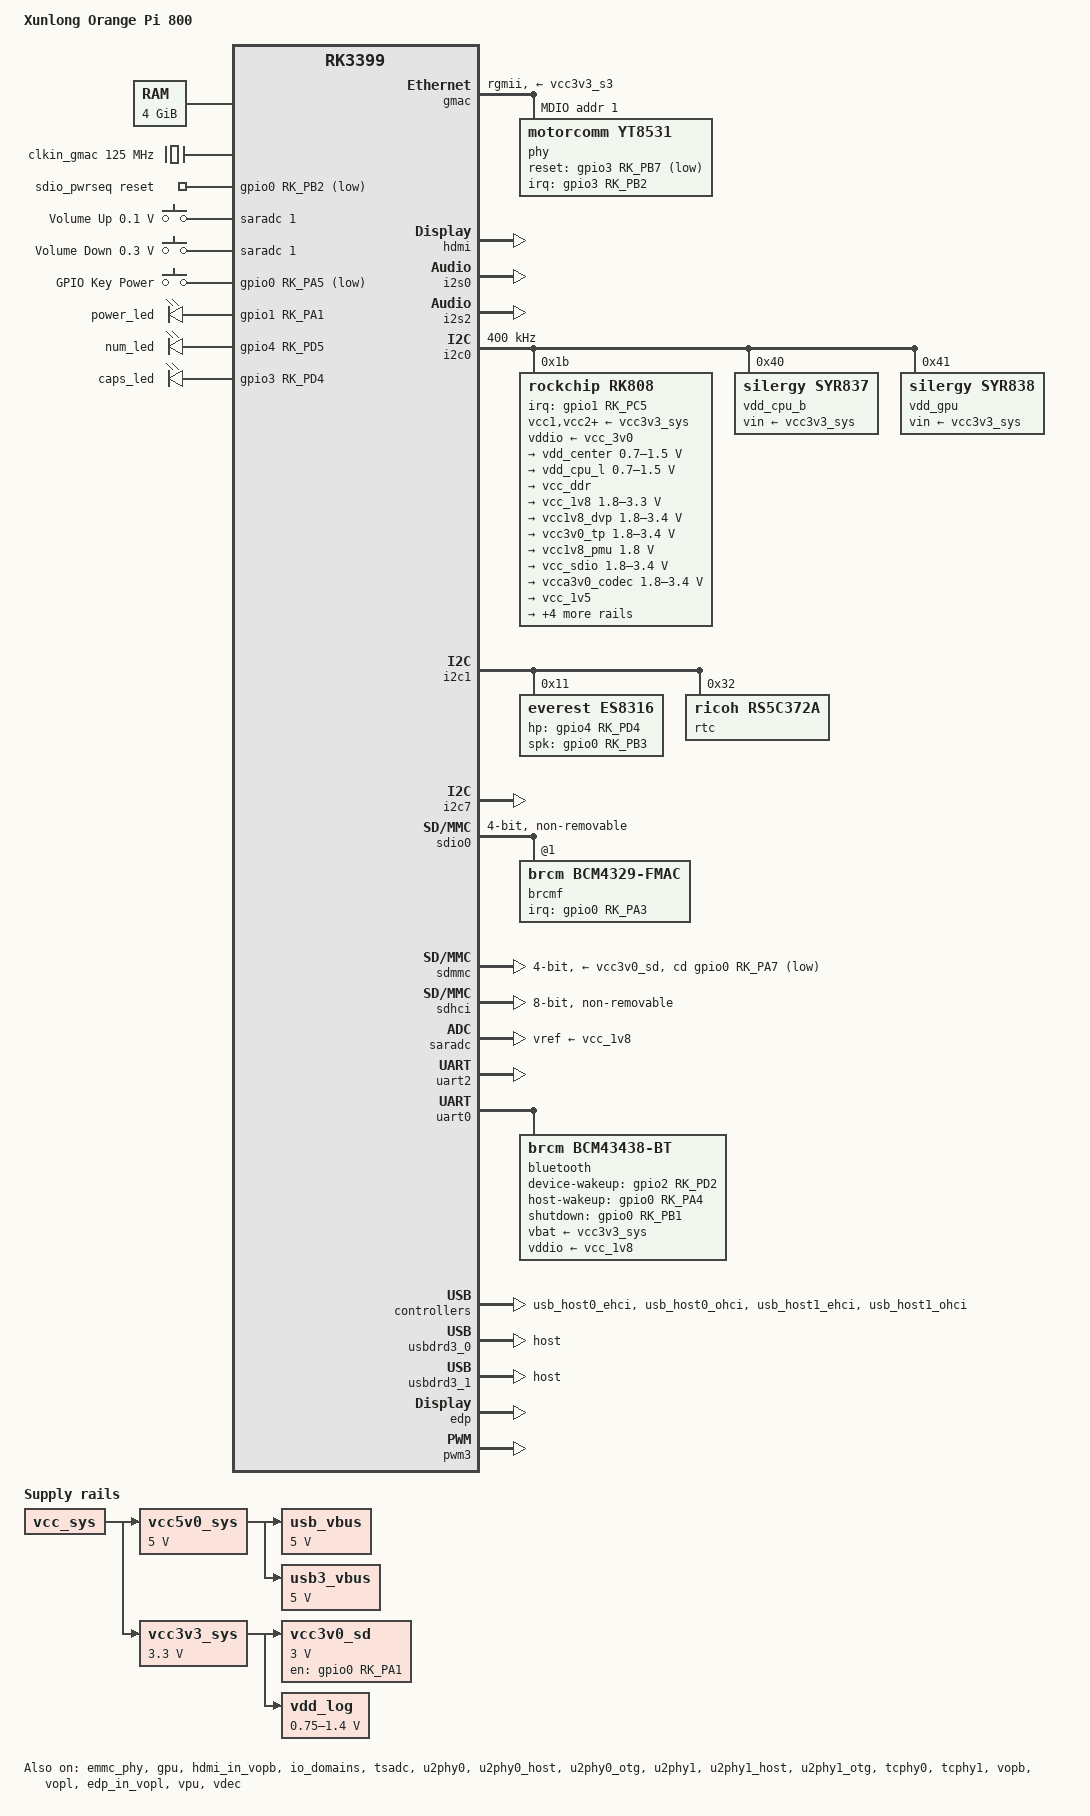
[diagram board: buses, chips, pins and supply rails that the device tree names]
// SPDX-License-Identifier: (GPL-2.0+ OR MIT)
/*
 * Copyright (c) 2022 Xunlong Software Co. Ltd.
 *
 * Device tree source for the Orange Pi 800 keyboard-PC (RK3399).
 * Ported from vendor DTS to mainline Linux format.
 *
 * Hardware:
 *   SoC:    Rockchip RK3399 (4x Cortex-A53 + 2x Cortex-A72)
 *   RAM:    4 GB LPDDR4
 *   eMMC:   64 GB (non-removable, /dev/mmcblk0)
 *   WiFi:   BCM43456 (AP6256) via SDIO
 *   BT:     BCM43456 via UART0
 *   PHY:    Motorcomm YT8531C 1GbE
 *   Audio:  ES8316 codec
 *   PMIC:   RK808-D + SYR827 (vdd_cpu_b) + SYR828 (vdd_gpu)
 *   VGA:    CH7517 eDP-to-VGA bridge on EDP port
 *   HDMI:   dw-hdmi @ ff940000
 *   Serial: UART2 (ff1a0000) @ 1500000 baud
 */
/dts-v1/;

#include <dt-bindings/gpio/gpio.h>
#include <dt-bindings/input/input.h>
#include <dt-bindings/leds/common.h>
#include <dt-bindings/pinctrl/rockchip.h>
#include "rk3399.dtsi"
#include "rk3399-opp.dtsi"

/ {
model = "Xunlong Orange Pi 800";
compatible = "xunlong,orangepi-800", "rockchip,rk3399";

aliases {
ethernet0 = &gmac;
mmc0 = &sdio0;
mmc1 = &sdmmc;
mmc2 = &sdhci;
};

chosen {
stdout-path = "serial2:1500000n8";
};

/*
 * 4 GB LPDDR4: 3840 MB low + 256 MB above 4 GB boundary.
 * U-Boot will update this node from DRAM init data.
 */
memory@00000000 {
device_type = "memory";
reg = <0x0 0x00000000 0x0 0xf0000000>,
      <0x0 0x100000000 0x0 0x10000000>;
};

/* ---------- Fixed regulators ---------- */

/* Root power supply — 5 V USB-C PD input */
vcc_sys: vcc-sys-regulator {
compatible = "regulator-fixed";
regulator-name = "vcc_sys";
regulator-always-on;
regulator-boot-on;
};

vcc5v0_sys: vcc5v0-sys-regulator {
compatible = "regulator-fixed";
regulator-name = "vcc5v0_sys";
regulator-always-on;
regulator-boot-on;
regulator-min-microvolt = <5000000>;
regulator-max-microvolt = <5000000>;
vin-supply = <&vcc_sys>;
};

vcc3v3_sys: vcc3v3-sys-regulator {
compatible = "regulator-fixed";
regulator-name = "vcc3v3_sys";
regulator-always-on;
regulator-boot-on;
regulator-min-microvolt = <3300000>;
regulator-max-microvolt = <3300000>;
vin-supply = <&vcc_sys>;

regulator-state-mem {
regulator-on-in-suspend;
};
};

/* SD card VMC — switched by GPIO0_PA1 */
vcc3v0_sd: vcc3v0-sd-regulator {
compatible = "regulator-fixed";
enable-active-high;
gpio = <&gpio0 RK_PA1 GPIO_ACTIVE_HIGH>;
pinctrl-names = "default";
pinctrl-0 = <&sdmmc0_pwr_h>;
regulator-name = "vcc3v0_sd";
regulator-always-on;
regulator-min-microvolt = <3000000>;
regulator-max-microvolt = <3000000>;
vin-supply = <&vcc3v3_sys>;

regulator-state-mem {
regulator-off-in-suspend;
};
};

/* USB host 5 V power (VBUS for USB2 host PHY ports) */
usb_vbus: usb-vbus-regulator {
compatible = "regulator-fixed";
regulator-name = "usb_vbus";
regulator-always-on;
regulator-boot-on;
regulator-min-microvolt = <5000000>;
regulator-max-microvolt = <5000000>;
vin-supply = <&vcc5v0_sys>;

regulator-state-mem {
regulator-on-in-suspend;
};
};

/* USB3 host VBUS (USB3/Type-C host ports) */
usb3_vbus: usb3-vbus-regulator {
compatible = "regulator-fixed";
regulator-name = "usb3_vbus";
regulator-always-on;
regulator-boot-on;
regulator-min-microvolt = <5000000>;
regulator-max-microvolt = <5000000>;
vin-supply = <&vcc5v0_sys>;

regulator-state-mem {
regulator-on-in-suspend;
};
};

/*
 * VDD_LOG — center-logic domain supply.
 * U2106 SY8088AAC buck converter, FB controlled by PWM3 (inverted).
 * Default hardware voltage ~0.945 V per schematic.
 */
vdd_log: vdd-log-regulator {
compatible = "pwm-regulator";
pwms = <&pwm3 0 25000 1>;
pwm-supply = <&vcc3v3_sys>;
regulator-name = "vdd_log";
regulator-min-microvolt = <750000>;
regulator-max-microvolt = <1400000>;
regulator-always-on;
regulator-boot-on;
};

/* ---------- External clocks ---------- */

/*
 * 125 MHz RGMII reference clock supplied by the YT8531C PHY
 * CLKOUT pin back to the RK3399 GMAC controller.
 */
clkin_gmac: external-gmac-clock {
compatible = "fixed-clock";
clock-frequency = <125000000>;
clock-output-names = "clkin_gmac";
#clock-cells = <0>;
};

/* ---------- WiFi power sequencing ---------- */

sdio_pwrseq: sdio-pwrseq {
compatible = "mmc-pwrseq-simple";
/*
 * RK808 CLKOUT2 (32 kHz) is the reference clock for the
 * AP6256 WiFi module.
 */
clocks = <&rk808 1>;
clock-names = "ext_clock";
pinctrl-names = "default";
pinctrl-0 = <&wifi_reg_on_h>;
/* WL_REG_ON: active-high enable, maps to ACTIVE_LOW on reset */
reset-gpios = <&gpio0 RK_PB2 GPIO_ACTIVE_LOW>;
};

/* ---------- Audio ---------- */

es8316_sound: es8316-sound {
compatible = "simple-audio-card";
simple-audio-card,name = "rockchip,es8316-codec";
simple-audio-card,format = "i2s";
simple-audio-card,mclk-fs = <256>;
simple-audio-card,widgets =
"Microphone", "Mic Jack",
"Headphone", "Headphones";
simple-audio-card,routing =
"MIC1", "Mic Jack",
"Headphones", "HPOL",
"Headphones", "HPOR";

simple-audio-card,cpu {
sound-dai = <&i2s0>;
};

simple-audio-card,codec {
sound-dai = <&es8316>;
};
};

hdmi_sound: hdmi-sound {
compatible = "simple-audio-card";
simple-audio-card,name = "hdmi";
simple-audio-card,format = "i2s";
simple-audio-card,mclk-fs = <256>;

simple-audio-card,cpu {
sound-dai = <&i2s2>;
};

simple-audio-card,codec {
sound-dai = <&hdmi>;
bitclock-master;
frame-master;
};
};

/* ---------- Input ---------- */

/* Volume Up / Down via SARADC channel 1 */
adc_keys: adc-keys {
compatible = "adc-keys";
io-channels = <&saradc 1>;
io-channel-names = "buttons";
poll-interval = <100>;
keyup-threshold-microvolt = <1800000>;

button-up {
label = "Volume Up";
linux,code = <KEY_VOLUMEUP>;
press-threshold-microvolt = <100000>;
};

button-down {
label = "Volume Down";
linux,code = <KEY_VOLUMEDOWN>;
press-threshold-microvolt = <300000>;
};
};

/* Power button — GPIO0_PA5, active-low */
gpio_keys: gpio-keys {
compatible = "gpio-keys";
#address-cells = <1>;
#size-cells = <0>;
autorepeat;
pinctrl-names = "default";
pinctrl-0 = <&power_key>;

button@0 {
gpios = <&gpio0 RK_PA5 GPIO_ACTIVE_LOW>;
linux,code = <KEY_POWER>;
label = "GPIO Key Power";
linux,input-type = <1>;
gpio-key,wakeup = <1>;
debounce-interval = <100>;
};
};

/* ---------- LEDs ---------- */

gpio_leds: gpio-leds {
compatible = "gpio-leds";
pinctrl-names = "default";
pinctrl-0 = <&leds_gpio>;

led-power {
gpios = <&gpio1 RK_PA1 GPIO_ACTIVE_HIGH>;
label = "power_led";
linux,default-trigger = "none";
default-state = "on";
};

led-num {
gpios = <&gpio4 RK_PD5 GPIO_ACTIVE_HIGH>;
label = "num_led";
function = LED_FUNCTION_KBD_NUMLOCK;
linux,default-trigger = "kbd-numlock";
default-state = "off";
};

led-caps {
gpios = <&gpio3 RK_PD4 GPIO_ACTIVE_HIGH>;
label = "caps_led";
function = LED_FUNCTION_KBD_CAPSLOCK;
linux,default-trigger = "kbd-capslock";
default-state = "off";
};
};
};

/* ---------- CPU voltage supplies ---------- */

&cpu_l0 { cpu-supply = <&vdd_cpu_l>; };
&cpu_l1 { cpu-supply = <&vdd_cpu_l>; };
&cpu_l2 { cpu-supply = <&vdd_cpu_l>; };
&cpu_l3 { cpu-supply = <&vdd_cpu_l>; };
&cpu_b0 { cpu-supply = <&vdd_cpu_b>; };
&cpu_b1 { cpu-supply = <&vdd_cpu_b>; };

/* ---------- eMMC PHY ---------- */

&emmc_phy {
status = "okay";
};

/* ---------- Ethernet (GMAC) ---------- */

&gmac {
assigned-clocks = <&cru SCLK_RMII_SRC>;
assigned-clock-parents = <&clkin_gmac>;
clock_in_out = "input";
phy-supply = <&vcc3v3_s3>;
phy-mode = "rgmii";
pinctrl-names = "default";
pinctrl-0 = <&rgmii_pins>;
tx_delay = <0x28>;
rx_delay = <0x11>;
status = "okay";

mdio {
compatible = "snps,dwmac-mdio";
#address-cells = <1>;
#size-cells = <0>;

phy@1 {
compatible = "motorcomm,yt8531";
reg = <1>;
interrupt-parent = <&gpio3>;
interrupts = <RK_PB2 IRQ_TYPE_LEVEL_LOW>;
motorcomm,clk-out-frequency-hz = <125000000>;
reset-gpios = <&gpio3 RK_PB7 GPIO_ACTIVE_LOW>;
reset-assert-us = <10000>;
reset-deassert-us = <30000>;
};
};
};

/* ---------- GPU ---------- */

&gpu {
mali-supply = <&vdd_gpu>;
status = "okay";
};

/* ---------- HDMI ---------- */

&hdmi {
ddc-i2c-bus = <&i2c7>;
pinctrl-names = "default";
pinctrl-0 = <&hdmi_cec>;
status = "okay";
};

&hdmi_in_vopb {
status = "okay";
};

&hdmi_in_vopl {
status = "disabled";
};

/* ---------- I2S / Audio clocking ---------- */

&i2s0 {
#sound-dai-cells = <0>;
pinctrl-names = "default";
pinctrl-0 = <&i2s0_8ch_bus>;
rockchip,playback-channels = <8>;
rockchip,capture-channels = <8>;
status = "okay";
};

&i2s2 {
#sound-dai-cells = <0>;
status = "okay";
};

/* ---------- I2C buses ---------- */

/* PMU I2C: RK808 PMIC, SYR827 (vdd_cpu_b), SYR828 (vdd_gpu) */
&i2c0 {
clock-frequency = <400000>;
i2c-scl-rising-time-ns = <168>;
i2c-scl-falling-time-ns = <4>;
status = "okay";

rk808: pmic@1b {
compatible = "rockchip,rk808";
reg = <0x1b>;
interrupt-parent = <&gpio1>;
interrupts = <RK_PC5 IRQ_TYPE_LEVEL_LOW>;
#clock-cells = <1>;
clock-output-names = "rk808-clko1", "rk808-clko2";
pinctrl-names = "default";
pinctrl-0 = <&pmic_int_l>;
rockchip,system-power-controller;
wakeup-source;

vcc1-supply = <&vcc3v3_sys>;
vcc2-supply = <&vcc3v3_sys>;
vcc3-supply = <&vcc3v3_sys>;
vcc4-supply = <&vcc3v3_sys>;
vcc6-supply = <&vcc3v3_sys>;
vcc7-supply = <&vcc3v3_sys>;
vcc8-supply = <&vcc3v3_sys>;
vcc9-supply = <&vcc3v3_sys>;
vcc10-supply = <&vcc3v3_sys>;
vcc11-supply = <&vcc3v3_sys>;
vcc12-supply = <&vcc3v3_sys>;
vddio-supply = <&vcc_3v0>;

regulators {
vdd_center: DCDC_REG1 {
regulator-name = "vdd_center";
regulator-always-on;
regulator-boot-on;
regulator-min-microvolt = <700000>;
regulator-max-microvolt = <1500000>;
regulator-ramp-delay = <6001>;

regulator-state-mem {
regulator-off-in-suspend;
};
};

vdd_cpu_l: DCDC_REG2 {
regulator-name = "vdd_cpu_l";
regulator-always-on;
regulator-boot-on;
regulator-min-microvolt = <700000>;
regulator-max-microvolt = <1500000>;
regulator-ramp-delay = <6001>;

regulator-state-mem {
regulator-off-in-suspend;
};
};

vcc_ddr: DCDC_REG3 {
regulator-name = "vcc_ddr";
regulator-always-on;
regulator-boot-on;

regulator-state-mem {
regulator-on-in-suspend;
};
};

vcc_1v8: DCDC_REG4 {
regulator-name = "vcc_1v8";
regulator-always-on;
regulator-boot-on;
regulator-min-microvolt = <1800000>;
regulator-max-microvolt = <3300000>;

regulator-state-mem {
regulator-on-in-suspend;
regulator-suspend-microvolt = <1800000>;
};
};

vcc1v8_dvp: LDO_REG1 {
regulator-name = "vcc1v8_dvp";
regulator-always-on;
regulator-boot-on;
regulator-min-microvolt = <1800000>;
regulator-max-microvolt = <3400000>;

regulator-state-mem {
regulator-off-in-suspend;
};
};

vcc3v0_tp: LDO_REG2 {
regulator-name = "vcc3v0_tp";
regulator-always-on;
regulator-boot-on;
regulator-min-microvolt = <1800000>;
regulator-max-microvolt = <3400000>;

regulator-state-mem {
regulator-off-in-suspend;
};
};

vcc1v8_pmu: LDO_REG3 {
regulator-name = "vcc1v8_pmu";
regulator-always-on;
regulator-boot-on;
regulator-min-microvolt = <1800000>;
regulator-max-microvolt = <1800000>;

regulator-state-mem {
regulator-on-in-suspend;
regulator-suspend-microvolt = <1800000>;
};
};

vcc_sdio: LDO_REG4 {
regulator-name = "vcc_sdio";
regulator-always-on;
regulator-boot-on;
regulator-min-microvolt = <1800000>;
regulator-max-microvolt = <3400000>;

regulator-state-mem {
regulator-on-in-suspend;
regulator-suspend-microvolt = <3000000>;
};
};

vcca3v0_codec: LDO_REG5 {
regulator-name = "vcca3v0_codec";
regulator-always-on;
regulator-boot-on;
regulator-min-microvolt = <1800000>;
regulator-max-microvolt = <3400000>;

regulator-state-mem {
regulator-off-in-suspend;
};
};

vcc_1v5: LDO_REG6 {
regulator-name = "vcc_1v5";
regulator-always-on;
regulator-boot-on;

regulator-state-mem {
regulator-on-in-suspend;
regulator-suspend-microvolt = <1500000>;
};
};

vcca1v8_codec: LDO_REG7 {
regulator-name = "vcca1v8_codec";
regulator-always-on;
regulator-boot-on;
regulator-min-microvolt = <1800000>;
regulator-max-microvolt = <1800000>;

regulator-state-mem {
regulator-off-in-suspend;
};
};

vcc_3v0: LDO_REG8 {
regulator-name = "vcc_3v0";
regulator-always-on;
regulator-boot-on;
regulator-min-microvolt = <3000000>;
regulator-max-microvolt = <3000000>;

regulator-state-mem {
regulator-on-in-suspend;
regulator-suspend-microvolt = <3000000>;
};
};

vcc3v3_s3: SWITCH_REG1 {
regulator-name = "vcc3v3_s3";
regulator-always-on;
regulator-boot-on;

regulator-state-mem {
regulator-on-in-suspend;
};
};

vcc3v3_s0: SWITCH_REG2 {
regulator-name = "vcc3v3_s0";
regulator-always-on;
regulator-boot-on;

regulator-state-mem {
regulator-off-in-suspend;
};
};
};
};

/* SYR837PKC (schematic U2105): vdd_cpu_b — big cluster CPU supply.
 * Primary compatible is syr837 (6.25 mV step); fall back to syr827
 * (12.5 mV step) for older kernel trees.
 */
vdd_cpu_b: regulator@40 {
compatible = "silergy,syr837", "silergy,syr827";
reg = <0x40>;
fcs,suspend-voltage-selector = <1>;
pinctrl-names = "default";
pinctrl-0 = <&cpu_b_sleep>;
regulator-name = "vdd_cpu_b";
regulator-always-on;
regulator-boot-on;
regulator-min-microvolt = <712500>;
regulator-max-microvolt = <1500000>;
regulator-ramp-delay = <1000>;
vin-supply = <&vcc3v3_sys>;

regulator-state-mem {
regulator-off-in-suspend;
};
};

/* SYR838PKC (schematic U2104): vdd_gpu — GPU supply.
 * Primary compatible is syr838 (6.25 mV step); fall back to syr828.
 */
vdd_gpu: regulator@41 {
compatible = "silergy,syr838", "silergy,syr828";
reg = <0x41>;
fcs,suspend-voltage-selector = <1>;
pinctrl-names = "default";
pinctrl-0 = <&gpu_sleep>;
regulator-name = "vdd_gpu";
regulator-always-on;
regulator-boot-on;
regulator-min-microvolt = <712500>;
regulator-max-microvolt = <1500000>;
regulator-ramp-delay = <1000>;
vin-supply = <&vcc3v3_sys>;

regulator-state-mem {
regulator-off-in-suspend;
};
};
};

/* Codec + RTC */
&i2c1 {
i2c-scl-rising-time-ns = <450>;
i2c-scl-falling-time-ns = <15>;
status = "okay";

es8316: codec@11 {
compatible = "everest,es8316";
reg = <0x11>;
clocks = <&cru SCLK_I2S0>;
clock-names = "mclk";
#sound-dai-cells = <0>;
hp-gpios = <&gpio4 RK_PD4 GPIO_ACTIVE_HIGH>;
spk-gpios = <&gpio0 RK_PB3 GPIO_ACTIVE_HIGH>;
};

rtc@32 {
compatible = "ricoh,rs5c372a";
reg = <0x32>;
};
};

/* HDMI DDC — driven by dw-hdmi hardware I2C */
&i2c7 {
status = "okay";
};

/* ---------- IO domains ---------- */

&io_domains {
bt656-supply = <&vcc1v8_dvp>;
audio-supply = <&vcca1v8_codec>;
sdmmc-supply = <&vcc_sdio>;
gpio1830-supply = <&vcc_3v0>;
status = "okay";
};

&pmu_io_domains {
pmu1830-supply = <&vcc1v8_pmu>;
status = "okay";
};

/* ---------- MMC / Storage ---------- */

/* WiFi SDIO (AP6256 / BCM43456) */
&sdio0 {
bus-width = <4>;
cap-sdio-irq;
disable-wp;
keep-power-in-suspend;
mmc-pwrseq = <&sdio_pwrseq>;
non-removable;
pinctrl-names = "default";
pinctrl-0 = <&sdio0_bus4 &sdio0_cmd &sdio0_clk>;
sd-uhs-sdr104;
max-frequency = <150000000>;
status = "okay";

brcmf: wifi@1 {
compatible = "brcm,bcm4329-fmac";
reg = <1>;
interrupt-parent = <&gpio0>;
interrupts = <RK_PA3 IRQ_TYPE_LEVEL_HIGH>;
interrupt-names = "host-wake";
};
};

/* microSD card */
&sdmmc {
bus-width = <4>;
cap-mmc-highspeed;
cap-sd-highspeed;
disable-wp;
cd-gpios = <&gpio0 RK_PA7 GPIO_ACTIVE_LOW>;
pinctrl-names = "default";
pinctrl-0 = <&sdmmc_bus4 &sdmmc_clk &sdmmc_cmd>;
vmmc-supply = <&vcc3v0_sd>;
vqmmc-supply = <&vcc_sdio>;
status = "okay";
};

/* eMMC 64 GB HS400 (always present, /dev/mmcblk0) */
&sdhci {
bus-width = <8>;
mmc-hs400-1_8v;
non-removable;
status = "okay";
};

/* ---------- Temperature / ADC ---------- */

&saradc {
vref-supply = <&vcc_1v8>;
status = "okay";
};

&tsadc {
/* hw_tshut mode 1 = CRU, polarity 1 = active high */
rockchip,hw-tshut-mode = <1>;
rockchip,hw-tshut-polarity = <1>;
status = "okay";
};

/* ---------- Serial ---------- */

/* Console */
&uart2 {
status = "okay";
};

/*
 * Bluetooth UART — AP6256 BT (BCM43456).
 * Uses UART0 with full hardware flow control.
 */
&uart0 {
pinctrl-names = "default";
pinctrl-0 = <&uart0_xfer &uart0_cts &uart0_rts>;
uart-has-rtscts;
status = "okay";

bluetooth {
compatible = "brcm,bcm43438-bt";
clocks = <&rk808 1>;
clock-names = "lpo";
device-wakeup-gpios = <&gpio2 RK_PD2 GPIO_ACTIVE_HIGH>;
host-wakeup-gpios = <&gpio0 RK_PA4 GPIO_ACTIVE_HIGH>;
shutdown-gpios = <&gpio0 RK_PB1 GPIO_ACTIVE_HIGH>;
vbat-supply = <&vcc3v3_sys>;
vddio-supply = <&vcc_1v8>;
};
};

/* ---------- USB ---------- */

&u2phy0 {
status = "okay";
};

&u2phy0_host {
phy-supply = <&usb_vbus>;
status = "okay";
};

&u2phy0_otg {
status = "okay";
};

&u2phy1 {
status = "okay";
};

&u2phy1_host {
phy-supply = <&usb3_vbus>;
status = "okay";
};

&u2phy1_otg {
status = "okay";
};

&usb_host0_ehci {
status = "okay";
};

&usb_host0_ohci {
status = "okay";
};

&usb_host1_ehci {
status = "okay";
};

&usb_host1_ohci {
status = "okay";
};

&usbdrd3_0 {
dr_mode = "host";
status = "okay";
};

&usbdrd3_1 {
dr_mode = "host";
status = "okay";
};

&tcphy0 {
status = "okay";
};

&tcphy1 {
status = "okay";
};

/* ---------- Display ---------- */

/* VOP-big → HDMI */
&vopb {
status = "okay";
assigned-clocks = <&cru DCLK_VOP0_DIV>;
assigned-clock-parents = <&cru PLL_VPLL>;
};

&vopb_mmu {
status = "okay";
};

/* VOP-little → eDP (for CH7517 eDP-to-VGA bridge) */
&vopl {
status = "okay";
assigned-clocks = <&cru DCLK_VOP1_DIV>;
assigned-clock-parents = <&cru PLL_CPLL>;
};

&vopl_mmu {
status = "okay";
};

/*
 * eDP → CH7517 eDP-to-VGA bridge.
 * The CH7517 does not yet have a mainline DRM bridge driver;
 * enable the eDP controller so it is usable when the driver lands.
 */
&edp {
force-hpd;
pinctrl-names = "default";
pinctrl-0 = <&edp_hpd>;
status = "okay";
};

&edp_in_vopb {
status = "disabled";
};

&edp_in_vopl {
status = "okay";
};

/* PWM3 — used for VDD_LOG regulation (SY8088AAC U2106) */
&pwm3 {
status = "okay";
};

/* ---------- VPU / Video decode ---------- */

/* Hantro G1/G2 (H.264, VP8, MPEG-2, JPEG, HEVC, VP9) */
&vpu {
status = "okay";
};

/* rkvdec engine (H.264 / HEVC alternate decoder) */
&vdec {
status = "okay";
};

/* ---------- Board-specific pinctrl groups ---------- */

&pinctrl {
/* PMIC int, CPU-B voltage sleep, GPU voltage sleep */
pmic {
pmic_int_l: pmic-int-l {
rockchip,pins =
<1 RK_PC5 RK_FUNC_GPIO &pcfg_pull_up>;
};

cpu_b_sleep: cpu-b-sleep {
rockchip,pins =
<1 RK_PC1 RK_FUNC_GPIO &pcfg_pull_down>;
};

gpu_sleep: gpu-sleep {
rockchip,pins =
<1 RK_PB6 RK_FUNC_GPIO &pcfg_pull_down>;
};
};

/* SD card power rail enable */
sd {
sdmmc0_pwr_h: sdmmc0-pwr-h {
rockchip,pins =
<0 RK_PA1 RK_FUNC_GPIO &pcfg_pull_none>;
};
};

/* WiFi chip enable (WL_REG_ON) */
sdio-pwrseq {
wifi_reg_on_h: wifi-reg-on-h {
rockchip,pins =
<0 RK_PB2 RK_FUNC_GPIO &pcfg_pull_none>;
};
};

/* USB host 5 V enable */
usb2 {
vcc5v0_host_en: vcc5v0-host-en {
rockchip,pins =
<4 RK_PD1 RK_FUNC_GPIO &pcfg_pull_none>;
};
};

/* Bluetooth chip enable and wake lines */
bluetooth {
bt_reg_on_h: bt-reg-on-h {
rockchip,pins =
<0 RK_PB1 RK_FUNC_GPIO &pcfg_pull_none>;
};

bt_host_wake_l: bt-host-wake-l {
rockchip,pins =
<0 RK_PA4 RK_FUNC_GPIO &pcfg_pull_none>;
};

bt_wake_l: bt-wake-l {
rockchip,pins =
<2 RK_PD2 RK_FUNC_GPIO &pcfg_pull_none>;
};
};

/* Keyboard status LEDs */
leds {
leds_gpio: leds-gpio {
rockchip,pins =
<1 RK_PA1 RK_FUNC_GPIO &pcfg_pull_none>,
<4 RK_PD5 RK_FUNC_GPIO &pcfg_pull_none>,
<3 RK_PD4 RK_FUNC_GPIO &pcfg_pull_none>;
};
};

/* Power button */
keys {
power_key: power-key {
rockchip,pins =
<0 RK_PA5 RK_FUNC_GPIO &pcfg_pull_up>;
};
};
};
